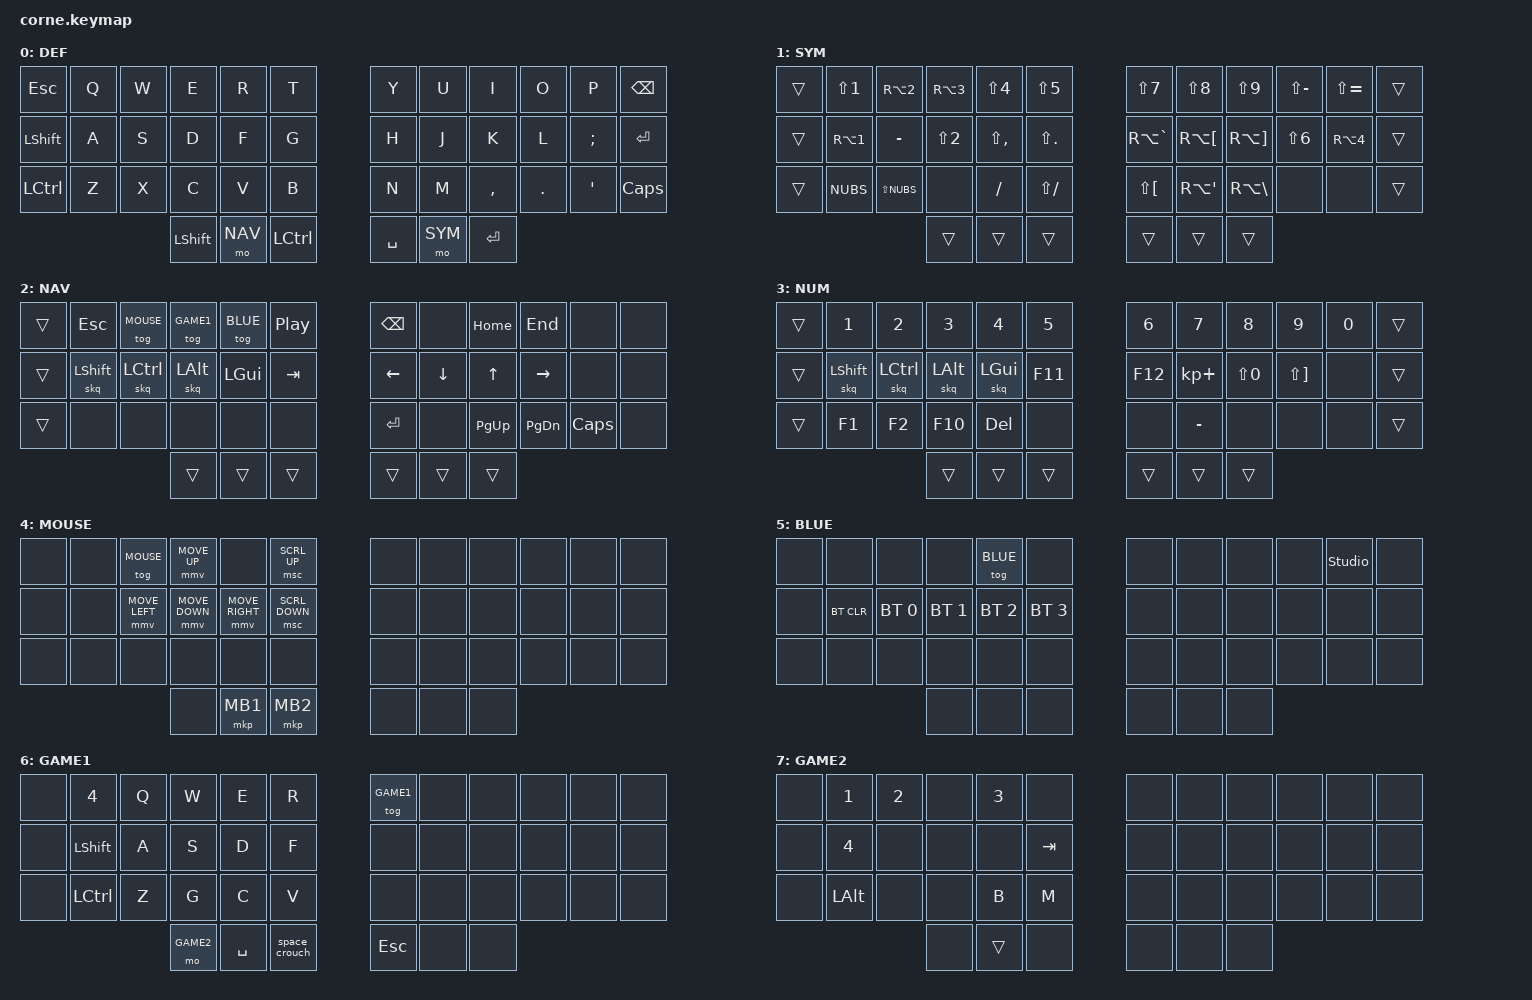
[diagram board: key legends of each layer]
/*
 * Copyright (c) 2020 The ZMK Contributors
 *
 * SPDX-License-Identifier: MIT
 */

#define ZMK_POINTING_DEFAULT_MOVE_VAL 1500
#define ZMK_POINTING_DEFAULT_SCRL_VAL 20

#include <behaviors.dtsi>
#include <dt-bindings/zmk/keys.h>
#include <dt-bindings/zmk/bt.h>
#include <dt-bindings/zmk/outputs.h>
#include <dt-bindings/zmk/ext_power.h>
#include <dt-bindings/led/led.h>
#include <dt-bindings/zmk/backlight.h>
#include <dt-bindings/zmk/rgb.h>
#include <dt-bindings/zmk/reset.h>
#include <dt-bindings/zmk/pointing.h>
// #include <spanish_keymap.h>

#define DEFAULT 0
#define SYM     1
#define NAV     2
#define NUM     3
// #define MISC    4
#define MOUSE   4
#define BLUE    5
#define GAME1   6
#define GAME2   7

&led_strip {
  chain-length = <27>;
};

/ {
    conditional_layers {
        compatible = "zmk,conditional-layers";
        tri_layer {
            if-layers = <1 2>;
            then-layer = <3>;
        };
    };

    behaviors {
      skq: sticky_key_quick_release {
        compatible = "zmk,behavior-sticky-key";
        #binding-cells = <1>;
        bindings = <&kp>;
        release-after-ms = <500>;
        quick-release;
        ignore-modifiers;
      };

      space_crouch: space_crouch_macro {
          compatible = "zmk,behavior-macro";
          #binding-cells = <0>;
          wait-ms = <0>;
          tap-ms = <0>;
          bindings = 
              <&macro_press &kp SPACE>,  // Press and hold SPACE
              <&macro_wait_time 5>,      // Hold SPACE for 5ms
              <&macro_release &kp SPACE>,// Release SPACE
              <&macro_wait_time 4>,      // Wait 4ms: ~0.4 frames earlier at 118 FPS
              <&macro_press &kp LCTRL>,  // Press and hold LCTRL
              <&macro_wait_time 10>,     // Hold LCTRL for 10ms
              <&macro_release &kp LCTRL>;// Release LCTRL
              // <&macro_pause_for_release>,// Optional: Pause until you release the physical key (useful if holding the macro key)
      };

      // space_crouch: space_crouch_macro {
      //     compatible = "zmk,behavior-macro";
      //     #binding-cells = <0>;
      //     wait-ms = <7>;
      //     bindings = 
      //         <&kp SPACE>,  // Press and hold SPACE
      //         <&kp LCTRL>,  // Press and hold LCTRL
      //         // <&macro_pause_for_release>,// Optional: Pause until you release the physical key (useful if holding the macro key)
      // };
    };

    keymap {
        compatible = "zmk,keymap";

        // QWERTY Layer (default, equivalent to _QWERTY)
        qwerty_layer {
            display-name = "DEF"; 
            bindings = <
                &kp ESC   &kp Q     &kp W     &kp E     &kp R      &kp T       &kp Y     &kp U     &kp I        &kp O      &kp P     &kp BSPC
                &kp LSHFT &kp A     &kp S     &kp D     &kp F      &kp G       &kp H     &kp J     &kp K        &kp L      &kp SEMI  &kp RET
                // &kp LSHFT &kp A     &kp S     &kp D     &kp F      &kp G       &kp H     &kp J     &kp K     &kp L     &kp TILDE &kp RET
                &kp LCTRL &kp Z     &kp X     &kp C     &kp V      &kp B       &kp N     &kp M     &kp COMMA    &kp DOT    &kp APOS  &kp CAPS
                // &kp LCTRL &kp Z     &kp X     &kp C     &kp V      &kp B       &kp N     &kp M     &kp COMMA &kp DOT   &kp FSLH  &kp CAPS
                                    &kp LSHFT &mo NAV   &kp LCTRL  &kp SPACE   &mo SYM   &kp RET
            >;
        };

        // Symbol Layer (equivalent to _SYM)
        sym_layer {
            display-name = "SYM"; 
            bindings = <
                &trans &kp LS(N1) &kp RA(N2)    &kp RA(N3) &kp LS(N4)    &kp LS(N5)    &kp LS(N7)    &kp LS(N8)   &kp LS(N9)   &kp LS(MINUS) &kp LS(EQUAL) &trans
                // &trans    &kp EXCL  &kp AT    &kp HASH  &kp DLLR  &kp PRCNT  &kp FSLH  &kp LPAR  &kp RPAR  &kp QMARK &none     &trans
                &trans &kp RA(N1) &kp MINUS     &kp LS(N2) &kp LS(COMMA) &kp LS(DOT)   &kp RA(GRAVE) &kp RA(LBKT) &kp RA(RBKT) &kp LS(N6)    &kp RA(N4)    &trans
                &trans &kp NUBS   &kp LS(NUBS)  &none      &kp SLASH     &kp LS(SLASH) &kp LS(LBKT)  &kp RA(APOS) &kp RA(BSLH) &none         &none         &trans
                                                &trans     &trans        &trans        &trans        &trans        &trans
                
            >;
        };

        // Navigation Layer (equivalent to _NAV)
        nav_layer {
            display-name = "NAV"; 
            bindings = <
                &trans    &kp ESC    &tog MOUSE  &tog GAME1 &tog BLUE &kp C_PP  &kp BSPC  &none     &kp HOME  &kp END   &none &none
                // &trans    &kp ESC    &none       &none      &none     &kp K_PP  &kp BSPC  &none     &kp HOME  &kp END   &none    &none
                &trans    &skq LSHFT &skq LCTRL  &skq LALT  &kp LGUI  &kp TAB   &kp LEFT  &kp DOWN  &kp UP    &kp RIGHT &none    &none
                &trans    &none      &none       &none      &none     &none     &kp RET   &none     &kp PG_UP &kp PG_DN &kp CAPS &none
                                     &trans      &trans     &trans    &trans    &trans    &trans
            >;
        };


        // Number Layer (equivalent to _NUMB)
        num_layer {
            display-name = "NUM"; 
            bindings = <
                &trans    &kp N1     &kp N2     &kp N3     &kp N4     &kp N5    &kp N6    &kp N7      &kp N8     &kp N9       &kp N0 &trans
                &trans    &skq LSHFT &skq LCTRL &skq LALT  &skq LGUI  &kp F11   &kp F12   &kp KP_PLUS &kp LS(N0) &kp LS(RBKT) &none  &trans
                &trans    &kp F1     &kp F2     &kp F10    &kp DEL    &none     &none     &kp MINUS   &none      &none        &none  &trans
                                     &trans     &trans     &trans     &trans    &trans    &trans
            >;
        };

        // misc_layer {
        //     display-name = "MISC"; 
        //     bindings = <
        //         &none &rgb_ug RGB_SAI &rgb_ug RGB_SAD &tog MISC      &rgb_ug RGB_EFF &rgb_ug RGB_HUI &none &none &none &none &none &rgb_ug RGB_COLOR_HSB(128,100,100)
        //         &none &rgb_ug RGB_SPD &rgb_ug RGB_SPI &none          &rgb_ug RGB_EFR &rgb_ug RGB_HUD &none &none &none &none &none &rgb_ug RGB_COLOR_HSB(240,100,100)
        //         &none &rgb_ug RGB_TOG &rgb_ug RGB_OFF &rgb_ug RGB_ON &rgb_ug RGB_BRI &rgb_ug RGB_BRD &none &none &none &none &none &rgb_ug RGB_COLOR_HSB(0,100,100)
        //         // &none &none           &none           &none          &none           &none        &none &none &none &none &none &none
        //                                                                     &none &none &none        &none &none &none
        //     >;
        // };

        mouse_layer {
            display-name = "MOUSE"; 
            bindings = <
                 &none &none &tog MOUSE     &mmv MOVE_UP   &none           &msc SCRL_UP     &none &none &none &none &none &none
                 &none &none &mmv MOVE_LEFT &mmv MOVE_DOWN &mmv MOVE_RIGHT &msc SCRL_DOWN   &none &none &none &none &none &none 
                 &none &none &none          &none          &none           &none            &none &none &none &none &none &none 
                                            &none          &mkp MB1        &mkp MB2         &none &none &none
            >;
        };

        blue_layer {
            display-name = "BLUE"; 
            bindings = <
                &none &none           &none           &none          &tog BLUE       &none           &none &none &none &none &studio_unlock &none
                &none &bt BT_CLR      &bt BT_SEL 0    &bt BT_SEL 1   &bt BT_SEL 2    &bt BT_SEL 3    &none &none &none &none &none          &none
                &none &none           &none           &none          &none           &none           &none &none &none &none &none          &none
                // &none &none           &none           &none          &none           &none        &none &none &none &none &none &none
                                                                         &none &none &none        &none &none &none
            >;
        };

        game1_layer {
            display-name = "GAME1";
            bindings = <
                &none &kp N4    &kp Q     &kp W     &kp E     &kp R          &tog GAME1 &none &none &none &none &none
                &none &kp LSHFT &kp A     &kp S     &kp D     &kp F          &none      &none &none &none &none &none
                &none &kp LCTRL &kp Z     &kp G     &kp C     &kp V          &none      &none &none &none &none &none
                                          &mo GAME2 &kp SPACE &space_crouch  &kp ESC    &none &none
            >;
        };

        game2_layer {
            display-name = "GAME2";
            bindings = <
                &none &kp N1   &kp N2 &none &kp N3 &none   &none &none &none &none &none &none
                &none &kp N4   &none  &none &none  &kp TAB &none &none &none &none &none &none
                &none &kp LALT &none  &none &kp B  &kp M   &none &none &none &none &none &none
                                      &none &trans &none   &none &none &none
            >;
        };
    };
};
